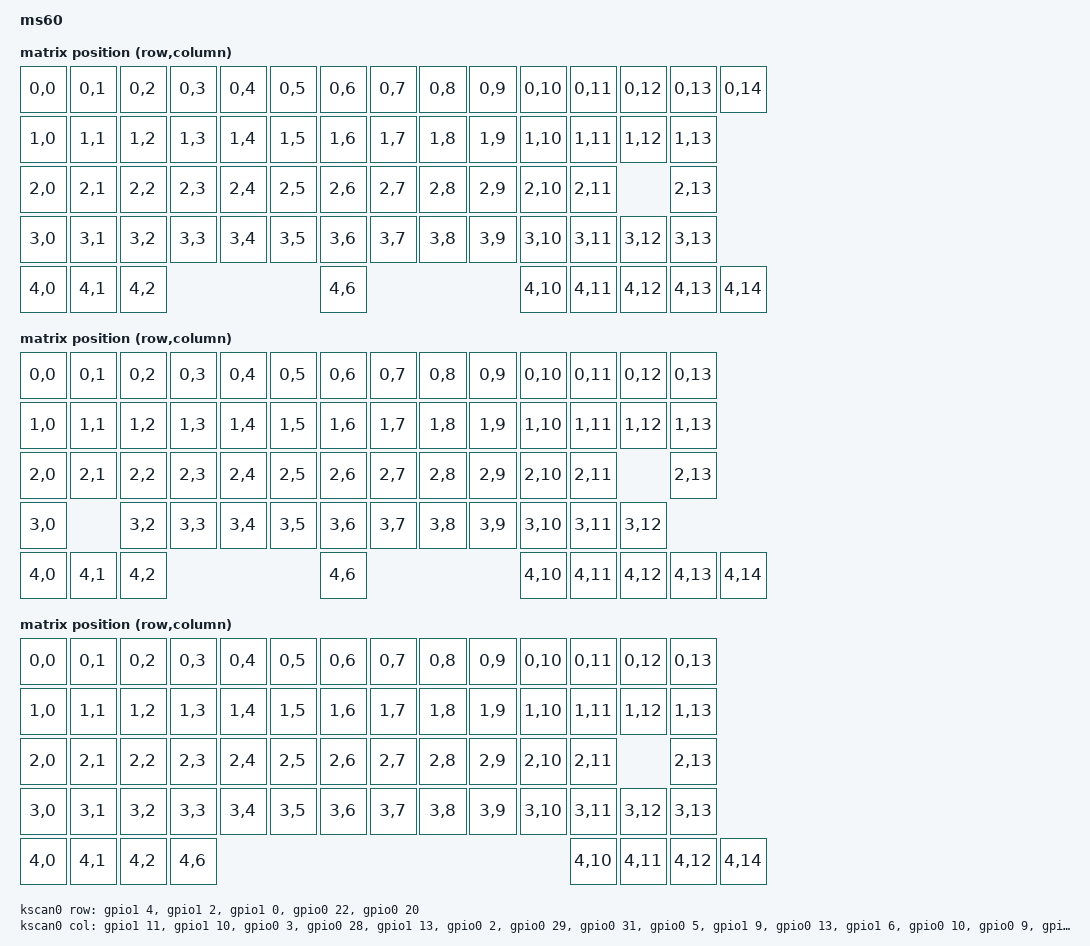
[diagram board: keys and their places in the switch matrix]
/*
 * Copyright (c) 2024 Mysteryassss
 *
 * SPDX-License-Identifier: MIT
 */

/dts-v1/;
#include <nordic/nrf52840_qiaa.dtsi>

#include <dt-bindings/led/led.h>
#include <dt-bindings/zmk/matrix_transform.h>

#include "ms60-pinctrl.dtsi"
#include "ms60-layouts.dtsi"

/ {
    model = "ms60";
    compatible = "Mystery,ms60";

    chosen {
        zephyr,code-partition = &code_partition;
        zephyr,sram = &sram0;
        zephyr,flash = &flash0;
        zmk,battery = &vbatt;
        zmk,kscan = &kscan0;
        zmk,underglow = &led_strip;
        zmk,physical-layout = &ms60_all;
    };

    ms60_all_transform: ms60_all_transform {
		compatible = "zmk,matrix-transform";
		columns = <15>;
		rows = <5>;
		map = <
                RC(0,0) RC(0,1) RC(0,2) RC(0,3) RC(0,4) RC(0,5) RC(0,6) RC(0,7) RC(0,8) RC(0,9) RC(0,10) RC(0,11) RC(0,12) RC(0,13) RC(0,14) 
                RC(1,0) RC(1,1) RC(1,2) RC(1,3) RC(1,4) RC(1,5) RC(1,6) RC(1,7) RC(1,8) RC(1,9) RC(1,10) RC(1,11) RC(1,12) RC(1,13) 
                RC(2,0) RC(2,1) RC(2,2) RC(2,3) RC(2,4) RC(2,5) RC(2,6) RC(2,7) RC(2,8) RC(2,9) RC(2,10) RC(2,11)          RC(2,13) 
                RC(3,0) RC(3,1) RC(3,2) RC(3,3) RC(3,4) RC(3,5) RC(3,6) RC(3,7) RC(3,8) RC(3,9) RC(3,10) RC(3,11) RC(3,12) RC(3,13) 
                RC(4,0) RC(4,1) RC(4,2)                         RC(4,6)                         RC(4,10) RC(4,11) RC(4,12) RC(4,13) RC(4,14)

		>;
	};

    ms60_without_split_transform: ms60_without_split_transform {
		compatible = "zmk,matrix-transform";
		columns = <15>;
		rows = <5>;
		map = <
                RC(0,0) RC(0,1) RC(0,2) RC(0,3) RC(0,4) RC(0,5) RC(0,6) RC(0,7) RC(0,8) RC(0,9) RC(0,10) RC(0,11) RC(0,12) RC(0,13)
                RC(1,0) RC(1,1) RC(1,2) RC(1,3) RC(1,4) RC(1,5) RC(1,6) RC(1,7) RC(1,8) RC(1,9) RC(1,10) RC(1,11) RC(1,12) RC(1,13) 
                RC(2,0) RC(2,1) RC(2,2) RC(2,3) RC(2,4) RC(2,5) RC(2,6) RC(2,7) RC(2,8) RC(2,9) RC(2,10) RC(2,11)          RC(2,13) 
                RC(3,0)         RC(3,2) RC(3,3) RC(3,4) RC(3,5) RC(3,6) RC(3,7) RC(3,8) RC(3,9) RC(3,10) RC(3,11) RC(3,12)
                RC(4,0) RC(4,1) RC(4,2)                         RC(4,6)                         RC(4,10) RC(4,11) RC(4,12) RC(4,13) RC(4,14)

		>;
	};

   ms60_625u2_transform: ms60_625u2_transform {
		compatible = "zmk,matrix-transform";
		columns = <15>;
		rows = <5>;
		map = <
                RC(0,0) RC(0,1) RC(0,2) RC(0,3) RC(0,4) RC(0,5) RC(0,6) RC(0,7) RC(0,8) RC(0,9) RC(0,10) RC(0,11) RC(0,12) RC(0,13)
                RC(1,0) RC(1,1) RC(1,2) RC(1,3) RC(1,4) RC(1,5) RC(1,6) RC(1,7) RC(1,8) RC(1,9) RC(1,10) RC(1,11) RC(1,12) RC(1,13) 
                RC(2,0) RC(2,1) RC(2,2) RC(2,3) RC(2,4) RC(2,5) RC(2,6) RC(2,7) RC(2,8) RC(2,9) RC(2,10) RC(2,11)          RC(2,13) 
                RC(3,0) RC(3,1) RC(3,2) RC(3,3) RC(3,4) RC(3,5) RC(3,6) RC(3,7) RC(3,8) RC(3,9) RC(3,10) RC(3,11) RC(3,12) RC(3,13) 
                RC(4,0) RC(4,1) RC(4,2)                         RC(4,6)                         RC(4,10) RC(4,11) RC(4,12)         RC(4,14)

		>;
	};

	ms60_7u_transform: ms60_7u_transform {
		compatible = "zmk,matrix-transform";
		columns = <15>;
		rows = <5>;
		map = <
                RC(0,0) RC(0,1) RC(0,2) RC(0,3) RC(0,4) RC(0,5) RC(0,6) RC(0,7) RC(0,8) RC(0,9) RC(0,10) RC(0,11) RC(0,12) RC(0,13) RC(0,14)
                RC(1,0) RC(1,1) RC(1,2) RC(1,3) RC(1,4) RC(1,5) RC(1,6) RC(1,7) RC(1,8) RC(1,9) RC(1,10) RC(1,11) RC(1,12) RC(1,13) 
                RC(2,0) RC(2,1) RC(2,2) RC(2,3) RC(2,4) RC(2,5) RC(2,6) RC(2,7) RC(2,8) RC(2,9) RC(2,10) RC(2,11)          RC(2,13) 
                RC(3,0) RC(3,1) RC(3,2) RC(3,3) RC(3,4) RC(3,5) RC(3,6) RC(3,7) RC(3,8) RC(3,9) RC(3,10) RC(3,11) RC(3,12) RC(3,13) 
                RC(4,0) RC(4,1) RC(4,2)                         RC(4,6)                                  RC(4,11) RC(4,12)          RC(4,14)

		>;
	};

    kscan0: kscan {
        compatible = "zmk,kscan-gpio-matrix";
        wakeup-source;
        label = "KSCAN";

        diode-direction = "col2row";
        	row-gpios
			= <&gpio1 4  (GPIO_ACTIVE_HIGH | GPIO_PULL_DOWN)>
			, <&gpio1 2  (GPIO_ACTIVE_HIGH | GPIO_PULL_DOWN)>
			, <&gpio1 0  (GPIO_ACTIVE_HIGH | GPIO_PULL_DOWN)>
			, <&gpio0 22 (GPIO_ACTIVE_HIGH | GPIO_PULL_DOWN)>
			, <&gpio0 20 (GPIO_ACTIVE_HIGH | GPIO_PULL_DOWN)>
			;  

		col-gpios
			= <&gpio1 11  GPIO_ACTIVE_HIGH>
			, <&gpio1 10  GPIO_ACTIVE_HIGH>
			, <&gpio0 3   GPIO_ACTIVE_HIGH>
			, <&gpio0 28  GPIO_ACTIVE_HIGH>
			, <&gpio1 13  GPIO_ACTIVE_HIGH>
            		, <&gpio0 2   GPIO_ACTIVE_HIGH>
        		, <&gpio0 29  GPIO_ACTIVE_HIGH>
        		, <&gpio0 31  GPIO_ACTIVE_HIGH>
        		, <&gpio0 5   GPIO_ACTIVE_HIGH>
        		, <&gpio1 9   GPIO_ACTIVE_HIGH>
			, <&gpio0 13  GPIO_ACTIVE_HIGH>
		        , <&gpio1 6   GPIO_ACTIVE_HIGH>
			, <&gpio0 10  GPIO_ACTIVE_HIGH>
			, <&gpio0 9   GPIO_ACTIVE_HIGH>
			, <&gpio0 24  GPIO_ACTIVE_HIGH>
			;
	};

    leds {
        compatible = "gpio-leds";
        blue_led: led_0 {
            gpios = <&gpio0 8 GPIO_ACTIVE_HIGH>;
            label = "Blue LED";
        };
    };

    ext-power {
        compatible = "zmk,ext-power-generic";
        label = "EXT_POWER";
        control-gpios = <&gpio0 9 GPIO_ACTIVE_HIGH>;
    };

    vbatt: vbatt {
	compatible = "zmk,battery-voltage-divider";
	label = "BATTERY";
	io-channels = <&adc 6>;
	output-ohms = <2000000>;
	full-ohms = <(2000000 + 860000)>;
	};
     soft_off_wakers {
         compatible = "zmk,soft-off-wakeup-sources";
         wakeup-sources = <&kscan0>;
         status = "okay";
     };
};

&adc {
    status = "okay";
};

&gpiote {
    status = "okay";
};

&gpio0 {
    status = "okay";
};

&gpio1 {
    status = "okay";
};

&spi3 {
    compatible = "nordic,nrf-spim";

    pinctrl-0 = <&spi3_default>;
    pinctrl-1 = <&spi3_sleep>;
    pinctrl-names = "default", "sleep";
    status = "okay";

    led_strip: ws2812@0 {
        compatible = "worldsemi,ws2812-spi";
        label = "WS2812";

        /* SPI */
        reg = <0>; /* ignored, but necessary for SPI bindings */
        spi-max-frequency = <4000000>;

        /* WS2812 */
        chain-length = <12>; /* LED strip length */
        spi-one-frame = <0x70>;
        spi-zero-frame = <0x40>;
        color-mapping = <LED_COLOR_ID_GREEN LED_COLOR_ID_RED LED_COLOR_ID_BLUE>;
    };
};

zephyr_udc0: &usbd {
    status = "okay";
};

&flash0 {
    /*
     * For more information, see:
     * http://docs.zephyrproject.org/latest/devices/dts/flash_partitions.html
     */
    partitions {
        compatible = "fixed-partitions";
        #address-cells = <1>;
        #size-cells = <1>;

        sd_partition: partition@0 {
            label = "mbr";
            reg = <0x00000000 0x00001000>;
        };

        code_partition: partition@1000 {
            label = "code_partition";
            reg = <0x00001000 0x000d3000>;
        };

        /*
         * The flash starting at 0x000d4000 and ending at
         * 0x000f3fff is reserved for use by the application.
         */

        /*
         * Storage partition will be used by FCB/LittleFS/NVS
         * if enabled.
         */
        storage_partition: partition@d4000 {
            label = "storage";
            reg = <0x000d4000 0x00020000>;
        };

        boot_partition: partition@f4000 {
            label = "adafruit_boot";
            reg = <0x000f4000 0x0000c000>;
        };
    };
};
